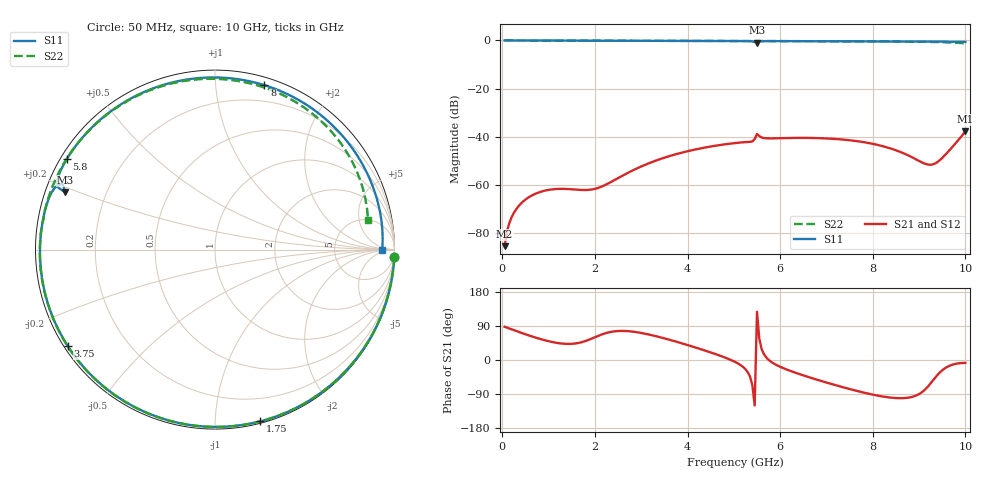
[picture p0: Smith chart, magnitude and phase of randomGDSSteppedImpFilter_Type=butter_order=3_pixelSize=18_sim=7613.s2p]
! freq	dB(S11)	phase(S11)	dB(S12)	phase(S12)
!  dB(S21)	phase(S21)	dB(S22)	phase(S22)
!S-par simulation data
#  GHz  S  DB  R 50
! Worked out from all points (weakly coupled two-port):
!   200 points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, 50 MHz to 10 GHz, reference 50 ohm
!   highest |S21| = -37.80 dB at 10 GHz (marker M1); lowest = -85.5 dB at 50 MHz (marker M2)
!   lowest |S11| = -1.0 dB at 5.5 GHz (marker M3), VSWR 17.85, Z = 2.9 + j9.19 ohm
!   |S11| at or under -10 dB: nowhere
!   |S22| runs from -1.2 to 0.0 dB; largest |S21 - S12| = 0
!   S11 on the Smith chart (normalised r, x): 50 MHz: 0, -50; 1.75 GHz: 0.01, -1.30; 3.75 GHz: 0.01, -0.30; 5.8 GHz: 0.02, +0.28; 8 GHz: 0.06, +1.34; 10 GHz: 28, -1
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0.05  -0.00 -2.3  -85.48 87.7  -85.48 87.7  -0.00 -2.4
0.1  -0.01 -4.5  -79.48 85.5  -79.48 85.5  -0.01 -4.7
0.2  -0.01 -9.0  -73.54 81.0  -73.54 81.0  -0.01 -9.3
0.3  -0.02 -13.5  -70.14 76.5  -70.14 76.5  -0.02 -14.0
0.65  -0.04 -29.0  -64.29 61.7  -64.29 61.7  -0.04 -29.9
1.1  -0.06 -48.5  -61.82 46.9  -61.82 46.9  -0.06 -49.8
1.75  -0.09 -75.3  -62.15 48.2  -62.15 48.2  -0.09 -76.4
2.5  -0.12 -103.8  -57.20 76.5  -57.20 76.5  -0.12 -103.9
3.4  -0.15 -135.2  -49.35 60.3  -49.35 60.3  -0.14 -132.8
3.75  -0.17 -146.8  -47.27 48.6  -47.27 48.6  -0.15 -143.1
4.4  -0.20 -167.8  -44.41 24.1  -44.41 24.1  -0.18 -161.3
5.05  -0.24 171.4  -42.58 -6.6  -42.58 -6.6  -0.21 -178.7
5.4  -0.38 158.8  -41.95 -66.5  -41.95 -66.5  -0.23 172.1
5.5  -0.97 159.1  -38.85 127.2  -38.85 127.2  -0.27 169.7
5.8  -0.28 148.6  -40.69 -4.4  -40.69 -4.4  -0.25 161.8
6.7  -0.32 118.6  -40.52 -48.4  -40.52 -48.4  -0.30 138.0
7.35  -0.35 96.3  -41.17 -71.6  -41.17 -71.6  -0.34 119.9
8  -0.38 73.3  -42.96 -91.4  -42.96 -91.4  -0.40 100.5
8.35  -0.40 60.6  -44.67 -98.7  -44.67 -98.7  -0.44 89.2
9.3  -0.46 25.9  -51.48 -53.9  -51.48 -53.9  -0.63 52.7
9.65  -0.51 13.0  -45.74 -15.7  -45.74 -15.7  -0.81 34.8
10  -0.62 -0.1  -37.80 -7.6  -37.80 -7.6  -1.23 11.0
